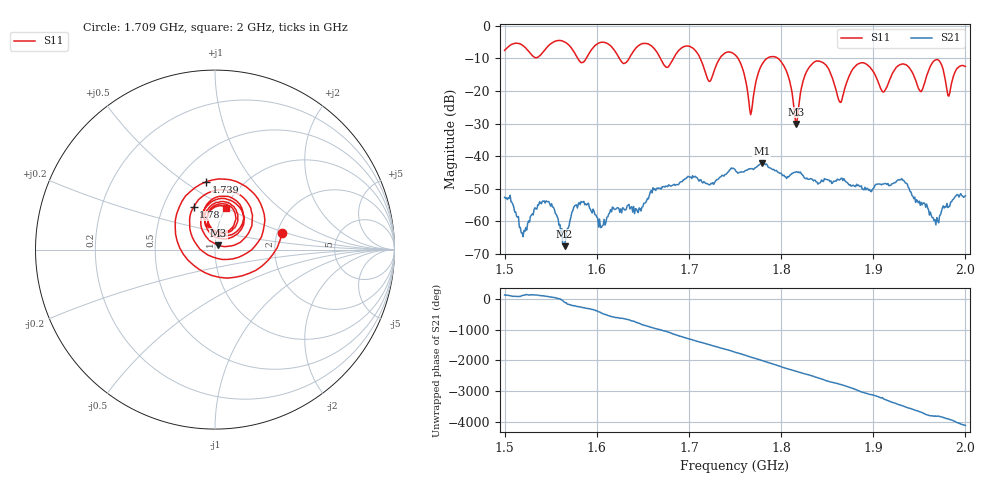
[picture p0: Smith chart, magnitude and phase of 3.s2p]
! NanoVNA-App by SYSJOINT et al v1.1.209 (+OD18)
! Date: 2026-01-21 14:18:05
! Start: 1,5GHz Stop: 2GHz Points: 501
! S-Parameter data: F S11 S21 S12 S22
# Hz S RI R 50
!  Frequency  S11_Real  S11_Imag  S21_Real  S21_Imag  S12_Real  S12_Imag  S22_Real  S22_Imag
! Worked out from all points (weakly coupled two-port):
!   501 points, 1.5 GHz to 2 GHz, reference 50 ohm
!   highest |S21| = -42.24 dB at 1.779 GHz (marker M1); lowest = -67.7 dB at 1.565 GHz (marker M2)
!   lowest |S11| = -30.1 dB at 1.816 GHz (marker M3), VSWR 1.06, Z = 51.9 + j2.58 ohm
!   |S11| at or under -10 dB: 1.712 GHz to 1.733 GHz (21.19 MHz wide, 1.23 % of centre); 1.753 GHz to 1.785 GHz (31.3 MHz wide, 1.77 % of centre); 1.797 GHz to end of sweep (the widest 3 of 6)
!   S12 and S22 are empty: the file has one direction only
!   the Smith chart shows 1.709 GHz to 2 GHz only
!   S11 on the Smith chart (normalised r, x): 1.709 GHz: 2.13, +0.46; 1.739 GHz: 0.69, +0.61; 1.78 GHz: 0.71, +0.36; 2 GHz: 1.01, +0.49
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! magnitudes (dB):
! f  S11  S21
! 1.5 GHz  -7.5  -52.7
! 1.52 GHz  -6.1  -64.8
! 1.547 GHz  -6.2  -54.0
! 1.565 GHz  -4.9  -67.7
! 1.584 GHz  -11.3  -54.1
! 1.667 GHz  -8.9  -49.8
! 1.709 GHz  -8.3  -46.7
! 1.722 GHz  -17.1  -48.8
! 1.739 GHz  -8.4  -45.7
! 1.75 GHz  -8.9  -44.1
! 1.767 GHz  -27.3  -43.9
! 1.779 GHz  -12.0  -42.2
! 1.78 GHz  -11.5  -42.3
! 1.802 GHz  -11.8  -46.0
! 1.816 GHz  -30.1  -44.9
! 1.834 GHz  -11.6  -47.2
! 1.864 GHz  -23.5  -47.2
! 1.885 GHz  -11.5  -49.3
! 1.917 GHz  -17.2  -49.1
! 1.969 GHz  -10.3  -58.9
! 1.982 GHz  -21.6  -55.6
! 2 GHz  -12.4  -52.2
